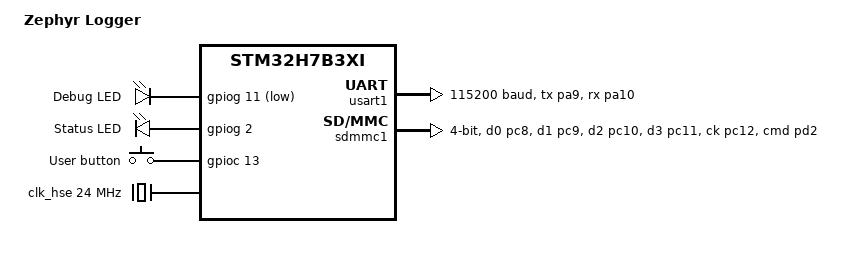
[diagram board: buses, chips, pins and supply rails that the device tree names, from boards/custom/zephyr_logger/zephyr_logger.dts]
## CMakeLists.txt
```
cmake_minimum_required(VERSION 3.20.0)

# Make the application-local boards/ directory discoverable by Zephyr.
list(APPEND BOARD_ROOT ${CMAKE_CURRENT_SOURCE_DIR})

find_package(Zephyr REQUIRED HINTS $ENV{ZEPHYR_BASE})
project(zephyr_production_reference)

target_sources(app PRIVATE
    src/main.c
    src/shell_commands.c
    src/storage.c
)
```

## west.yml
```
manifest:
  remotes:
    - name: zephyrproject-rtos
      url-base: https://github.com/zephyrproject-rtos

  projects:
    - name: zephyr
      remote: zephyrproject-rtos
      revision: v4.4.0
      import: true

  self:
    path: zephyr-production-reference
```

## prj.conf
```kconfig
CONFIG_PRINTK=y
CONFIG_HEAP_MEM_POOL_SIZE=256
CONFIG_ASSERT=y
CONFIG_SHELL=y
CONFIG_SHELL_BACKEND_SERIAL=y

# microSD card and FAT filesystem
CONFIG_DISK_ACCESS=y
CONFIG_DISK_DRIVER_SDMMC=y
CONFIG_SDMMC_STM32_HWFC=y
CONFIG_FILE_SYSTEM=y
CONFIG_FAT_FILESYSTEM_ELM=y
CONFIG_FILE_SYSTEM_SHELL=y
CONFIG_MAIN_STACK_SIZE=2048
```

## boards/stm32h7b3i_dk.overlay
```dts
/ {
    aliases {
        debug-led = &red_led;
    };
};
&usart1 {
    current-speed = <115200>;
};
```

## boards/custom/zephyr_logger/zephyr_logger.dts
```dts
/*
 * Minimal board definition for the Zephyr Logger custom board.
 *
 * SPDX-License-Identifier: Apache-2.0
 */

/dts-v1/;
#include <st/h7/stm32h7b3Xi.dtsi>
#include <st/h7/stm32h7b3lihxq-pinctrl.dtsi>
#include <zephyr/dt-bindings/input/input-event-codes.h>

/ {
	model = "Zephyr Logger";
	compatible = "custom,zephyr-logger";

	chosen {
		zephyr,console = &usart1;
		zephyr,shell-uart = &usart1;
		zephyr,sram = &sram0;
		zephyr,flash = &flash0;
	};

	leds {
		compatible = "gpio-leds";

		debug_led: led_0 {
			gpios = <&gpiog 11 GPIO_ACTIVE_LOW>;
			label = "Debug LED";
		};

		status_led: led_1 {
			gpios = <&gpiog 2 GPIO_ACTIVE_HIGH>;
			label = "Status LED";
		};
	};

	buttons {
		compatible = "gpio-keys";

		user_button: button_0 {
			gpios = <&gpioc 13 GPIO_ACTIVE_HIGH>;
			label = "User button";
			zephyr,code = <INPUT_KEY_0>;
		};
	};

	aliases {
		led0 = &debug_led;
		led1 = &status_led;
		debug-led = &debug_led;
		status-led = &status_led;
		sw0 = &user_button;
	};
};

&clk_hse {
	clock-frequency = <DT_FREQ_M(24)>;
	status = "okay";
};

&pll {
	div-m = <12>;
	mul-n = <280>;
	div-p = <2>;
	div-q = <7>;
	div-r = <2>;
	clocks = <&clk_hse>;
	status = "okay";
};

/* Dedicated 48 MHz kernel clock for SDMMC1: 24 MHz / 12 * 192 / 8. */
&pll2 {
	div-m = <12>;
	mul-n = <192>;
	div-p = <8>;
	div-q = <8>;
	div-r = <8>;
	clocks = <&clk_hse>;
	status = "okay";
};

&rcc {
	clocks = <&pll>;
	clock-frequency = <DT_FREQ_M(280)>;
	d1cpre = <1>;
	hpre = <1>;
	d1ppre = <2>;
	d2ppre1 = <2>;
	d2ppre2 = <2>;
	d3ppre = <2>;
};

&pwr {
	power-supply = "smps-direct";
};

&usart1 {
	pinctrl-0 = <&usart1_tx_pa9 &usart1_rx_pa10>;
	pinctrl-names = "default";
	current-speed = <115200>;
	status = "okay";
};

/*
 * microSD connector, matching the STM32H7B3I-DK wiring.
 * The card uses SDMMC1 in 4-bit mode; PI8 is low while a card is inserted.
 */
&sdmmc1 {
	clocks = <&rcc STM32_CLOCK(AHB3, 16)>,
		 <&rcc STM32_SRC_PLL2_R SDMMC_SEL(1)>;
	pinctrl-0 = <&sdmmc1_d0_pc8 &sdmmc1_d1_pc9
		     &sdmmc1_d2_pc10 &sdmmc1_d3_pc11
		     &sdmmc1_ck_pc12 &sdmmc1_cmd_pd2>;
	pinctrl-names = "default";
	cd-gpios = <&gpioi 8 (GPIO_ACTIVE_LOW | GPIO_PULL_UP)>;
	disk-name = "SD";
	bus-width = <4>;
	status = "okay";
};
```

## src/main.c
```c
/*
 * Copyright (c) 2016 Intel Corporation
 *
 * SPDX-License-Identifier: Apache-2.0
 */

#include <zephyr/kernel.h>
#include <zephyr/drivers/gpio.h>
#include <zephyr/drivers/uart.h>

#include "storage.h"

#define SLEEP_TIME_MS 500

static const struct gpio_dt_spec debug_led = GPIO_DT_SPEC_GET(DT_ALIAS(debug_led), gpios);
static const struct gpio_dt_spec status_led = GPIO_DT_SPEC_GET(DT_ALIAS(status_led), gpios);
static const struct gpio_dt_spec user_button = GPIO_DT_SPEC_GET(DT_ALIAS(sw0), gpios);
static struct gpio_callback button_cb_data;

static void button_pressed(const struct device *port, struct gpio_callback *cb,
			   gpio_port_pins_t pins)
{
	ARG_UNUSED(port);
	ARG_UNUSED(cb);
	ARG_UNUSED(pins);

	gpio_pin_toggle_dt(&debug_led);
	printk("Button pressed! Debug LED toggled.\n");
}

int main(void)
{
	int ret;

	if (!gpio_is_ready_dt(&debug_led) || !gpio_is_ready_dt(&status_led) ||
	    !gpio_is_ready_dt(&user_button)) {
		printk("GPIO device is not ready\n");
		return 0;
	}

	ret = gpio_pin_configure_dt(&debug_led, GPIO_OUTPUT_INACTIVE);
	if (ret < 0) {
		printk("Failed to configure debug LED: %d\n", ret);
		return 0;
	}

	ret = gpio_pin_configure_dt(&status_led, GPIO_OUTPUT_ACTIVE);
	if (ret < 0) {
		printk("Failed to configure status LED: %d\n", ret);
		return 0;
	}

	ret = gpio_pin_configure_dt(&user_button, GPIO_INPUT);
	if (ret < 0) {
		printk("Failed to configure user button: %d\n", ret);
		return 0;
	}

	ret = gpio_pin_interrupt_configure_dt(&user_button, GPIO_INT_EDGE_TO_ACTIVE);
	if (ret < 0) {
		printk("Failed to configure button interrupt: %d\n", ret);
		return 0;
	}

	gpio_init_callback(&button_cb_data, button_pressed, BIT(user_button.pin));
	ret = gpio_add_callback(user_button.port, &button_cb_data);
	if (ret < 0) {
		printk("Failed to add button callback: %d\n", ret);
		return 0;
	}

	printk("Zephyr Logger ready; press the button to toggle the debug LED\n");
	printk("Shell is available on USART1 at 115200 baud\n");

	ret = storage_mount();
	if (ret < 0) {
		printk("Continuing without SD storage\n");
	}

	while (1)
	{
		gpio_pin_toggle_dt(&status_led);
		k_msleep(SLEEP_TIME_MS);
	}
}
```

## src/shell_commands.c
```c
/*
 * SPDX-License-Identifier: Apache-2.0
 */

#include <errno.h>
#include <zephyr/drivers/gpio.h>
#include <zephyr/shell/shell.h>

static const struct gpio_dt_spec debug_led =
	GPIO_DT_SPEC_GET(DT_ALIAS(debug_led), gpios);

static int set_debug_led(const struct shell *sh, int value)
{
	int ret;

	if (!gpio_is_ready_dt(&debug_led)) {
		shell_error(sh, "Debug LED GPIO device is not ready");
		return -ENODEV;
	}

	ret = gpio_pin_set_dt(&debug_led, value);
	if (ret < 0) {
		shell_error(sh, "Failed to set debug LED: %d", ret);
		return ret;
	}

	shell_print(sh, "Debug LED %s", value ? "on" : "off");
	return 0;
}

static int cmd_debug_led_on(const struct shell *sh, size_t argc, char **argv)
{
	ARG_UNUSED(argc);
	ARG_UNUSED(argv);

	return set_debug_led(sh, 1);
}

static int cmd_debug_led_off(const struct shell *sh, size_t argc, char **argv)
{
	ARG_UNUSED(argc);
	ARG_UNUSED(argv);

	return set_debug_led(sh, 0);
}

SHELL_STATIC_SUBCMD_SET_CREATE(
	sub_debug_led,
	SHELL_CMD_ARG(on, NULL, "Turn the debug LED on", cmd_debug_led_on, 1, 0),
	SHELL_CMD_ARG(off, NULL, "Turn the debug LED off", cmd_debug_led_off, 1, 0),
	SHELL_SUBCMD_SET_END
);

SHELL_CMD_REGISTER(debug_led, &sub_debug_led, "Control the debug LED", NULL);
```

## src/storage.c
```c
/* SPDX-License-Identifier: Apache-2.0 */

#include <errno.h>
#include <ff.h>
#include <zephyr/fs/fs.h>
#include <zephyr/storage/disk_access.h>
#include <zephyr/sys/printk.h>

#include "storage.h"

#define SD_DISK_NAME "SD"
#define SD_MOUNT_POINT "/" SD_DISK_NAME ":"

static FATFS fat_fs;

static struct fs_mount_t sd_mount = {
	.type = FS_FATFS,
	.fs_data = &fat_fs,
	.storage_dev = (void *)SD_DISK_NAME,
	.mnt_point = SD_MOUNT_POINT,
};

static void print_root_directory(void)
{
	struct fs_dir_t dir;
	struct fs_dirent entry;
	int ret;

	fs_dir_t_init(&dir);
	ret = fs_opendir(&dir, SD_MOUNT_POINT);
	if (ret < 0) {
		printk("SD: cannot open root directory (%d)\n", ret);
		return;
	}

	printk("SD: root directory:\n");
	while (true) {
		ret = fs_readdir(&dir, &entry);
		if (ret < 0 || entry.name[0] == '\0') {
			break;
		}

		printk("  %s%s", entry.name,
		       entry.type == FS_DIR_ENTRY_DIR ? "/\n" : "\n");
	}

	if (ret < 0) {
		printk("SD: directory read failed (%d)\n", ret);
	}

	(void)fs_closedir(&dir);
}

int storage_mount(void)
{
	uint32_t sector_count;
	uint32_t sector_size;
	uint64_t capacity;
	int ret;

	ret = disk_access_init(SD_DISK_NAME);
	if (ret < 0) {
		printk("SD: initialization failed (%d); is a card inserted?\n", ret);
		return ret;
	}

	ret = disk_access_ioctl(SD_DISK_NAME, DISK_IOCTL_GET_SECTOR_COUNT,
				&sector_count);
	if (ret < 0) {
		printk("SD: cannot read sector count (%d)\n", ret);
		return ret;
	}

	ret = disk_access_ioctl(SD_DISK_NAME, DISK_IOCTL_GET_SECTOR_SIZE,
				&sector_size);
	if (ret < 0) {
		printk("SD: cannot read sector size (%d)\n", ret);
		return ret;
	}

	capacity = (uint64_t)sector_count * sector_size;
	printk("SD: detected %llu MiB, %u-byte sectors\n",
	       capacity >> 20, sector_size);

	ret = fs_mount(&sd_mount);
	if (ret < 0) {
		printk("SD: FAT mount failed (%d); format the card as FAT32\n", ret);
		return ret;
	}

	printk("SD: FAT filesystem mounted at %s\n", SD_MOUNT_POINT);
	print_root_directory();

	return 0;
}
```

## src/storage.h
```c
/* SPDX-License-Identifier: Apache-2.0 */

#ifndef ZEPHYR_PRODUCTION_REFERENCE_STORAGE_H_
#define ZEPHYR_PRODUCTION_REFERENCE_STORAGE_H_

int storage_mount(void);

#endif /* ZEPHYR_PRODUCTION_REFERENCE_STORAGE_H_ */
```
